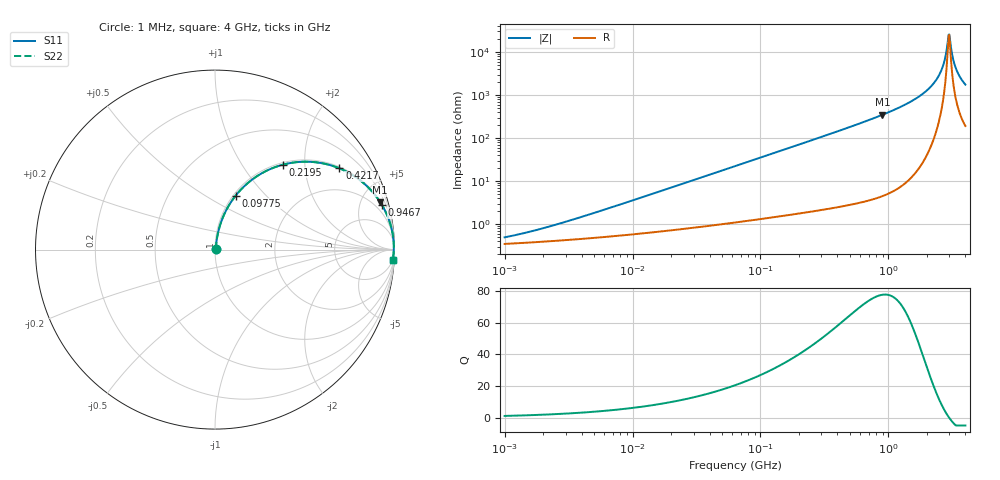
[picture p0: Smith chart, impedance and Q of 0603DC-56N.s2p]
# MHz  S  MA  R  50
!Freq  MagS11  AngS11  MagS21  AngS21  MagS12  AngS12  MagS22  AngS22
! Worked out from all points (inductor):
!   801 points, 1 MHz to 4 GHz, reference 50 ohm
!   read as one part in series: L = 56 nH near 3.849 MHz
!   highest Q = 77.6 at 898.9 MHz (marker M1), where L = 61.6 nH
!   self-resonance near 2.961 GHz
!   S11 on the Smith chart (normalised r, x): 1 MHz: 1.01, +0.01; 97.75 MHz: 1.03, +0.69; 219.5 MHz: 1.04, +1.55; 421.7 MHz: 1.05, +3.03; 946.7 MHz: 1.10, +7.41; 4 GHz: 5, -35
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1  0.004932 45.1  0.9965 -0.2  0.9965 -0.2  0.004932 45.1
4.011853  0.01476 71.3  0.9954 -0.8  0.9954 -0.8  0.01476 71.3
15.92896  0.05598 80.0  0.9918 -3.2  0.9918 -3.2  0.05598 80.0
63.90467  0.2175 74.7  0.9655 -12.5  0.9655 -12.5  0.2175 74.7
97.75481  0.3221 69.1  0.9346 -18.8  0.9346 -18.8  0.3221 69.1
219.4517  0.6064 51.3  0.7809 -37.3  0.7809 -37.3  0.6064 51.3
253.7319  0.6616 47.3  0.7355 -41.4  0.7355 -41.4  0.6616 47.3
421.6977  0.8281 33.1  0.5468 -55.9  0.5468 -55.9  0.8281 33.1
898.8541  0.9578 16.0  0.2753 -73.3  0.2753 -73.3  0.9578 16.0
946.6775  0.9623 15.1  0.2597 -74.2  0.2597 -74.2  0.9623 15.1
1007.436  0.9672 14.0  0.2416 -75.3  0.2416 -75.3  0.9672 14.0
1639.98  0.9905 6.9  0.1196 -82.0  0.1196 -82.0  0.9905 6.9
2215.201  0.9957 3.3  0.05717 -84.1  0.05717 -84.1  0.9957 3.3
2614.896  0.9965 1.4  0.02508 -81.3  0.02508 -81.3  0.9965 1.4
2754.021  0.9965 0.9  0.01536 -76.4  0.01536 -76.4  0.9965 0.9
2900.549  0.9963 0.3  0.006285 -54.2  0.006285 -54.2  0.9963 0.3
2961.32  0.9962 0.1  0.003942 -17.4  0.003942 -17.4  0.9962 0.1
3054.872  0.996 -0.3  0.00615 49.9  0.00615 49.9  0.996 -0.3
3250.937  0.9955 -0.9  0.01709 74.3  0.01709 74.3  0.9955 -0.9
3423.902  0.9949 -1.5  0.02683 78.3  0.02683 78.3  0.9949 -1.5
3719.992  0.9936 -2.4  0.04267 80.2  0.04267 80.2  0.9936 -2.4
4000  0.9922 -3.2  0.05675 80.5  0.05675 80.5  0.9922 -3.2
